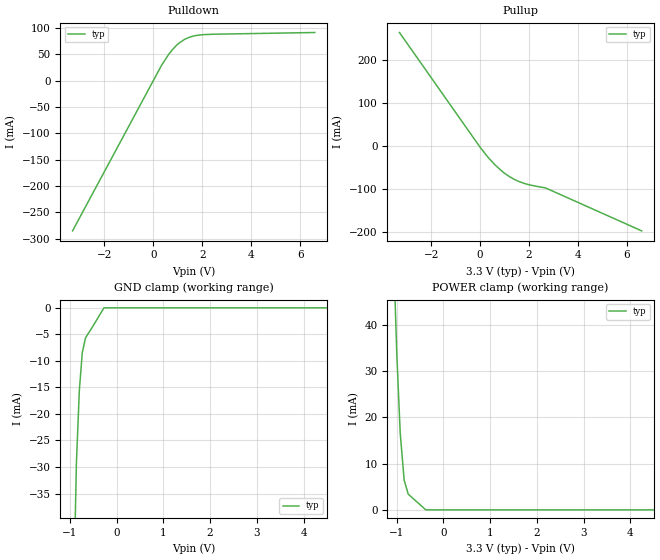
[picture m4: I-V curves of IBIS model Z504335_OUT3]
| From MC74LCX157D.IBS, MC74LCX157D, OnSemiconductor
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| (C) COPYRIGHT 1993-2000
| MENTOR GRAPHICS CORPORATION
| ICX STANDARD LIBRARY, ICX PROJECT MODELING,
| ICX CUSTOM MODELING, ICX VENDOR MODEL
| ALL RIGHTS RESERVED.
| THE FOLLOWING ARE TRADEMARKS OR SERVICE MARKS OF
| MENTOR GRAPHICS CORPORATION:ICX (R), ICX STANDARD
| LIBRARY(R), ICX PROJECT MODELING(R), ICX CUSTOM
| MODELING(R), qualityIBIS(TM), MODELVIEWER(TM),
| AND MODELEDITOR(TM)
| ALL COPIES OF SOFTWARE, INCLUDING BUT NOT LIMITED TO
| ANY MODIFICATIONS, ENHANCEMENTS OR DERIVATIVE WORKS,
| MUST CONTAIN ALL MENTOR GRAPHICS CORPORATION'S
| NOTICES AND LEGENDS, INCLUDING THOSE EMBEDDED IN
| SOFTWARE AND THOSE AFFIXED TO SOFTWARE MEDIUM
| AND CONTAINER, AS RECEIVED FROM MENTOR GRAPHICS
| CORPORATION.
| Model Application Version 1.89 2/18/99.
[Model] Z504335_OUT3
Model_type Output
Vref=0.000V
Rref=500.0ohms
Cref=50.00pF
Vmeas=1.500V
C_comp 8.000pF NA NA
| variable typ   min   max
[Voltage Range] 3.300V NA NA
[POWER Clamp Reference] 3.300V NA NA
[Pullup Reference] 3.300V NA NA
[Pulldown Reference] 0.000V NA NA
[GND Clamp Reference] 0.000V NA NA
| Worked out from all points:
|   slope of the pulldown table from 0 to 0.495 V, typ, clamps not added: 12.3 ohm
|   slope of the pullup table from 0 to 0.495 V, typ, clamps not added: 14.6 ohm
[GND Clamp]
-3.3V     -1.499A    NA         NA
-1.025V   -100.5mA   NA         NA
-858.6mV  -29.29mA   NA         NA
-795.9mV  -15.57mA   NA         NA
-732.4mV  -8.432mA   NA         NA
-663.8mV  -5.652mA   NA         NA
-537.1mV  -3.923mA   NA         NA
-268.6mV  0A         NA         NA
6.6V      0A         NA         NA
[Pulldown]
-3.3V     -285mA     NA         NA
337mV     29.34mA    NA         NA
630.6mV   50.3mA     NA         NA
781.3mV   59.07mA    NA         NA
1.064V    71.94mA    NA         NA
1.455V    82.25mA    NA         NA
1.689V    85.44mA    NA         NA
2.085V    87.77mA    NA         NA
6.6V      91.66mA    NA         NA
[Pullup]
-3.3V     264.9mA    NA         NA
16mV      -3.464mA   NA         NA
312mV     -24.63mA   NA         NA
609mV     -43.08mA   NA         NA
913mV     -58.76mA   NA         NA
1.22V     -71.09mA   NA         NA
1.548V    -80.87mA   NA         NA
2.035V    -89.73mA   NA         NA
2.672V    -96.54mA   NA         NA
6.6V      -196.4mA   NA         NA
[POWER Clamp]
-3.3V     759.1mA    NA         NA
-997mV    33.57mA    NA         NA
-924mV    16.56mA    NA         NA
-840mV    6.421mA    NA         NA
-753mV    3.393mA    NA         NA
-376.5mV  0A         NA         NA
6.6V      0A         NA         NA
[Ramp]
| variable typ min max
dV/dt_r 1.946/292.2p NA NA
dV/dt_f 1.946/590.2p NA NA
R_load = 500.0Ohms
